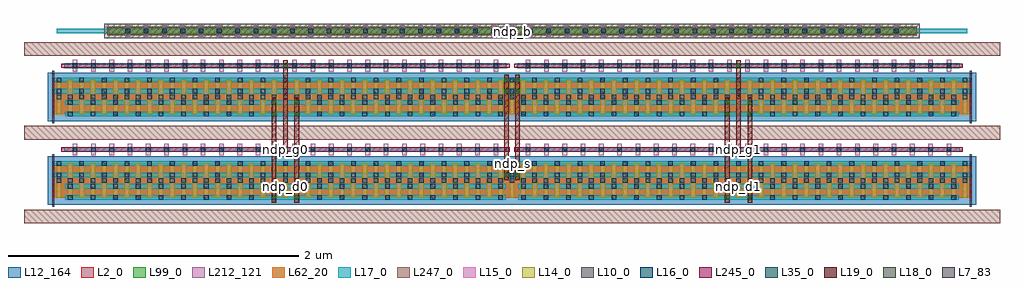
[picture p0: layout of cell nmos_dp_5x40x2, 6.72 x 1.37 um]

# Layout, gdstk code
import gdstk
lib = gdstk.Library(unit=1e-6, precision=1e-12)
def R(c, l, rs):  # rectangles x0, y0, x1, y1
    for r in rs: c.add(gdstk.rectangle(r[:2], r[2:], *l))
def A(c, l, x, y, w, h, nx, ny, dx, dy):  # array of equal rectangles
    R(c, l, [(x+i*dx, y+j*dy, x+i*dx+w, y+j*dy+h) for i in range(nx) for j in range(ny)])
L2_0 = (2, 0)
L7_83 = (7, 83)
L10_0 = (10, 0)
L12_164 = (12, 164)
L14_0 = (14, 0)
L15_0 = (15, 0)
L16_0 = (16, 0)
L17_0 = (17, 0)
L18_0 = (18, 0)
L19_0 = (19, 0)
L35_0 = (35, 0)
L62_20 = (62, 20)
L99_0 = (99, 0)
L212_121 = (212, 121)
L245_0 = (245, 0)
L247_0 = (247, 0)

nmos_dp_5x40x2 = lib.new_cell('nmos_dp_5x40x2')
R(nmos_dp_5x40x2, L2_0, [(0,0,6.318,0.24), (0,0.576,6.318,0.816), (0.371,1.12,5.947,1.18)])
R(nmos_dp_5x40x2, L7_83, [(-0.007,-0.06,0.007,0.3), (6.311,-0.06,6.325,0.3), (-0.007,0.516,0.007,0.876), (6.311,0.516,6.325,0.876)])
R(nmos_dp_5x40x2, L10_0, [(0.351,1.1,5.967,1.2)])
R(nmos_dp_5x40x2, L12_164, [(-0.039,-0.048,6.357,0.288), (-0.039,0.528,6.357,0.864)])
A(nmos_dp_5x40x2, L14_0, 0.022, 0, 0.034, 0.24, 81, 2, 0.078, 0.576)
R(nmos_dp_5x40x2, L14_0, [(0.386,1.13,5.932,1.17)])
A(nmos_dp_5x40x2, L15_0, 0.023, 0, 0.032, 0.24, 81, 2, 0.078, 0.576)
A(nmos_dp_5x40x2, L15_0, 0.134, 0.295, 0.032, 0.08, 24, 2, 0.126, 0.576)
A(nmos_dp_5x40x2, L15_0, 3.254, 0.295, 0.032, 0.08, 24, 2, 0.126, 0.576)
A(nmos_dp_5x40x2, L15_0, 0.497, 1.11, 0.032, 0.08, 43, 1, 0.126, 0)
A(nmos_dp_5x40x2, L16_0, 0.101, -0.013, 0.032, 0.032, 40, 2, 0.156, 0.078)
A(nmos_dp_5x40x2, L16_0, 0.023, 0.143, 0.032, 0.032, 41, 2, 0.156, 0.078)
A(nmos_dp_5x40x2, L16_0, 0.134, 0.319, 0.032, 0.032, 24, 2, 0.126, 0.576)
A(nmos_dp_5x40x2, L16_0, 3.254, 0.319, 0.032, 0.032, 24, 2, 0.126, 0.576)
A(nmos_dp_5x40x2, L16_0, 0.101, 0.563, 0.032, 0.032, 40, 2, 0.156, 0.078)
A(nmos_dp_5x40x2, L16_0, 0.023, 0.719, 0.032, 0.032, 41, 2, 0.156, 0.078)
A(nmos_dp_5x40x2, L16_0, 0.497, 1.134, 0.032, 0.032, 43, 1, 0.126, 0)
R(nmos_dp_5x40x2, L17_0, [(0.081,-0.013,3.117,0.019), (3.201,-0.013,6.237,0.019), (0.081,0.065,3.117,0.097), (3.201,0.065,6.237,0.097), (0,0.143,6.318,0.175), (0,0.221,6.318,0.253), (0.075,0.319,3.123,0.351), (3.195,0.319,6.243,0.351), (0.081,0.563,3.117,0.595), (3.201,0.563,6.237,0.595), (0.081,0.641,3.117,0.673), (3.201,0.641,6.237,0.673), (0,0.719,6.318,0.751), (0,0.797,6.318,0.829), (0.075,0.895,3.123,0.927), (3.195,0.895,6.243,0.927), (0.023,1.134,6.295,1.166)])
R(nmos_dp_5x40x2, L18_0, [(1.505,-0.013,1.537,0.019), (1.661,-0.013,1.693,0.019), (4.625,-0.013,4.657,0.019), (4.781,-0.013,4.813,0.019), (1.505,0.065,1.537,0.097), (1.661,0.065,1.693,0.097), (4.625,0.065,4.657,0.097), (4.781,0.065,4.813,0.097), (3.104,0.143,3.136,0.175), (3.182,0.143,3.214,0.175), (3.104,0.221,3.136,0.253), (3.182,0.221,3.214,0.253), (1.583,0.319,1.615,0.351), (4.703,0.319,4.735,0.351), (1.505,0.563,1.537,0.595), (1.661,0.563,1.693,0.595), (4.625,0.563,4.657,0.595), (4.781,0.563,4.813,0.595), (1.505,0.641,1.537,0.673), (1.661,0.641,1.693,0.673), (4.625,0.641,4.657,0.673), (4.781,0.641,4.813,0.673), (3.104,0.719,3.136,0.751), (3.182,0.719,3.214,0.751), (3.104,0.797,3.136,0.829), (3.182,0.797,3.214,0.829), (1.583,0.895,1.615,0.927), (4.703,0.895,4.735,0.927)])
R(nmos_dp_5x40x2, L19_0, [(1.505,-0.033,1.537,0.693), (1.661,-0.033,1.693,0.693), (4.625,-0.033,4.657,0.693), (4.781,-0.033,4.813,0.693), (3.104,0.123,3.136,0.849), (3.182,0.123,3.214,0.849), (1.583,0.299,1.615,0.948), (4.703,0.299,4.735,0.948)])
A(nmos_dp_5x40x2, L35_0, 0.023, 0.104, 0.032, 0.032, 81, 2, 0.078, 0.576)
A(nmos_dp_5x40x2, L35_0, 0.134, 0.319, 0.032, 0.032, 24, 2, 0.126, 0.576)
A(nmos_dp_5x40x2, L35_0, 3.254, 0.319, 0.032, 0.032, 24, 2, 0.126, 0.576)
A(nmos_dp_5x40x2, L35_0, 0.497, 1.134, 0.032, 0.032, 43, 1, 0.126, 0)
R(nmos_dp_5x40x2, L62_20, [(0,0,6.318,0.24), (0,0.576,6.318,0.816)])
R(nmos_dp_5x40x2, L99_0, [(0,0,6.318,0.24), (0,0.576,6.318,0.816), (0.381,1.125,5.937,1.175)])
R(nmos_dp_5x40x2, L212_121, [(0,0,6.318,0.24), (0,0.576,6.318,0.816)])
R(nmos_dp_5x40x2, L245_0, [(0.055,0.32,3.143,0.35), (3.175,0.32,6.263,0.35), (0.055,0.896,3.143,0.926), (3.175,0.896,6.263,0.926)])
A(nmos_dp_5x40x2, L247_0, -0.202, -0.174, 6.722, 0.094, 1, 3, 0, 0.576)
nmos_dp_5x40x2.add(gdstk.Label('ndp_s', (3.159,0.237), layer=16, texttype=20))
nmos_dp_5x40x2.add(gdstk.Label('ndp_d1', (4.719,0.081), layer=16, texttype=20))
nmos_dp_5x40x2.add(gdstk.Label('ndp_d0', (1.599,0.081), layer=16, texttype=20))
nmos_dp_5x40x2.add(gdstk.Label('ndp_g0', (1.599,0.3355), layer=16, texttype=20))
nmos_dp_5x40x2.add(gdstk.Label('ndp_g1', (4.719,0.3355), layer=16, texttype=20))
nmos_dp_5x40x2.add(gdstk.Label('ndp_b', (3.159,1.15), layer=16, texttype=20))

lib.write_gds('nmos_dp_5x40x2.gds')
